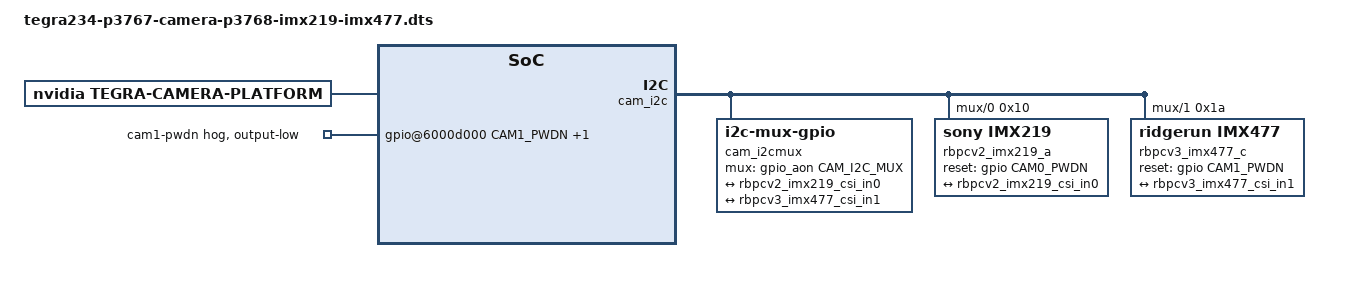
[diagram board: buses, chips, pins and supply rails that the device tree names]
// SPDX-License-Identifier: GPL-2.0-only
// SPDX-FileCopyrightText: Copyright (c) 2023-2024, NVIDIA CORPORATION & AFFILIATES. All rights reserved.

/dts-v1/;
/plugin/;

#define CAM0_RST	TEGRA234_MAIN_GPIO(H, 3)
#define CAM0_PWDN	TEGRA234_MAIN_GPIO(H, 6)
#define CAM1_PWDN	TEGRA234_MAIN_GPIO(AC, 0)
#define CAM_I2C_MUX 	TEGRA234_AON_GPIO(CC, 3)

#include <dt-bindings/tegra234-p3767-0000-common.h>

/ {
	overlay-name = "Camera IMX219-A and IMX477-C";
	jetson-header-name = "Jetson 24pin CSI Connector";
	compatible = JETSON_COMPATIBLE_P3768;
	/* IMX477 connected on cam0 and IMX219 connected on cam1 port */

	fragment@0 {
		target-path = "/";
		__overlay__ {
			tegra-capture-vi  {
				num-channels = <2>;
				ports {
					#address-cells = <1>;
					#size-cells = <0>;
					vi_port0: port@0 {
						reg = <0>;
						rbpcv2_imx219_vi_in0: endpoint {
							port-index = <1>;
							bus-width = <2>;
							remote-endpoint = <&rbpcv2_imx219_csi_out0>;
						};
					};

					port@1 {
						reg = <1>;
						rbpcv3_imx477_vi_in1: endpoint {
							port-index = <2>;
							bus-width = <2>;
							remote-endpoint = <&rbpcv3_imx477_csi_out1>;
						};
					};
				};
			};
			tegra-camera-platform {
				compatible = "nvidia, tegra-camera-platform";
				/**
				 * The general guideline for naming badge_info contains 3 parts, and is as follows,
				 * The first part is the camera_board_id for the module; if the module is in a FFD
				 * platform, then use the platform name for this part.
				 * The second part contains the position of the module, ex. "rear" or "front".
				 * The third part contains the last 6 characters of a part number which is found
				 * in the module's specsheet from the vendor.
				 */
				modules {
					cam_module0: module0 {
						badge = "jakku_front_RBP194";
						position = "front";
						orientation = "1";
						cam_module0_drivernode0: drivernode0 {
							pcl_id = "v4l2_sensor";
							sysfs-device-tree = "/sys/firmware/devicetree/base/bus@0/cam_i2cmux/i2c@0/rbpcv2_imx219_a@10";
						};
						cam_module0_drivernode1: drivernode1 {
							pcl_id = "v4l2_lens";
							sysfs-device-tree = "/sys/firmware/devicetree/base/bus@0/lens_imx219@RBPCV2";
						};
					};
					module1 {
						badge = "jakku_rear_RBPCV3";
						position = "rear";
						orientation = "1";
						drivernode0 {
							pcl_id = "v4l2_sensor";
							sysfs-device-tree = "/sys/firmware/devicetree/base/bus@0/cam_i2cmux/i2c@1/rbpcv3_imx477_c@1a";
						};
					};
				};
			};
			bus@0 {
				host1x@13e00000 {
					nvcsi@15a00000 {
						num-channels = <2>;
						#address-cells = <1>;
						#size-cells = <0>;
						csi_chan0: channel@0 {
							reg = <0>;
							ports {
								#address-cells = <1>;
								#size-cells = <0>;
								csi_chan0_port0: port@0 {
									reg = <0>;
									rbpcv2_imx219_csi_in0: endpoint@0 {
										port-index = <1>;
										bus-width = <2>;
										remote-endpoint = <&rbpcv2_imx219_out0>;
									};
								};
								csi_chan0_port1: port@1 {
									reg = <1>;
									rbpcv2_imx219_csi_out0: endpoint@1 {
										remote-endpoint = <&rbpcv2_imx219_vi_in0>;
									};
								};
							};
						};
						channel@1 {
							reg = <1>;
							ports {
								#address-cells = <1>;
								#size-cells = <0>;
								port@0 {
									reg = <0>;
									rbpcv3_imx477_csi_in1: endpoint@2 {
										port-index = <2>;
										bus-width = <2>;
										remote-endpoint = <&rbpcv3_imx477_out1>;
									};
								};
								port@1 {
									reg = <1>;
									rbpcv3_imx477_csi_out1: endpoint@3 {
										remote-endpoint = <&rbpcv3_imx477_vi_in1>;
									};
								};
							};
						};
					};
				};
				cam_i2cmux {
					status = "okay";
					compatible = "i2c-mux-gpio";
					#address-cells = <1>;
					#size-cells = <0>;
					mux-gpios = <&gpio_aon CAM_I2C_MUX GPIO_ACTIVE_HIGH>;
					i2c-parent = <&cam_i2c>;
					i2c@0 {
						status = "okay";
						reg = <0>;
						#address-cells = <1>;
						#size-cells = <0>;
						rbpcv2_imx219_a@10 {
							reset-gpios = <&gpio CAM0_PWDN GPIO_ACTIVE_HIGH>;
							compatible = "sony,imx219";
							/* I2C device address */
							reg = <0x10>;
							/* V4L2 device node location */
							devnode = "video0";
							/* Physical dimensions of sensor */
							physical_w = "3.680";
							physical_h = "2.760";
							sensor_model = "imx219";
							use_sensor_mode_id = "true";
							/**
							* ==== Modes ====
							* A modeX node is required to support v4l2 driver
							* implementation with NVIDIA camera software stack
							*
							* == Signal properties ==
							*
							* phy_mode = "";
							* PHY mode used by the MIPI lanes for this device
							*
							* tegra_sinterface = "";
							* CSI Serial interface connected to tegra
							* Incase of virtual HW devices, use virtual
							* For SW emulated devices, use host
							*
							* pix_clk_hz = "";
							* Sensor pixel clock used for calculations like exposure and framerate
							*
							* readout_orientation = "0";
							* Based on camera module orientation.
							* Only change readout_orientation if you specifically
							* Program a different readout order for this mode
							*
							* == Image format Properties ==
							*
							* active_w = "";
							* Pixel active region width
							*
							* active_h = "";
							* Pixel active region height
							*
							* pixel_t = "";
							* The sensor readout pixel pattern
							*
							* line_length = "";
							* Pixel line length (width) for sensor mode.
							*
							* == Source Control Settings ==
							*
							* Gain factor used to convert fixed point integer to float
							* Gain range [min_gain/gain_factor, max_gain/gain_factor]
							* Gain step [step_gain/gain_factor is the smallest step that can be configured]
							* Default gain [Default gain to be initialized for the control.
							*     use min_gain_val as default for optimal results]
							* Framerate factor used to convert fixed point integer to float
							* Framerate range [min_framerate/framerate_factor, max_framerate/framerate_factor]
							* Framerate step [step_framerate/framerate_factor is the smallest step that can be configured]
							* Default Framerate [Default framerate to be initialized for the control.
							*     use max_framerate to get required performance]
							* Exposure factor used to convert fixed point integer to float
							* For convenience use 1 sec = 1000000us as conversion factor
							* Exposure range [min_exp_time/exposure_factor, max_exp_time/exposure_factor]
							* Exposure step [step_exp_time/exposure_factor is the smallest step that can be configured]
							* Default Exposure Time [Default exposure to be initialized for the control.
							*     Set default exposure based on the default_framerate for optimal exposure settings]
							*
							* gain_factor = ""; (integer factor used for floating to fixed point conversion)
							* min_gain_val = ""; (ceil to integer)
							* max_gain_val = ""; (ceil to integer)
							* step_gain_val = ""; (ceil to integer)
							* default_gain = ""; (ceil to integer)
							* Gain limits for mode
							*
							* exposure_factor = ""; (integer factor used for floating to fixed point conversion)
							* min_exp_time = ""; (ceil to integer)
							* max_exp_time = ""; (ceil to integer)
							* step_exp_time = ""; (ceil to integer)
							* default_exp_time = ""; (ceil to integer)
							* Exposure Time limits for mode (sec)
							*
							* framerate_factor = ""; (integer factor used for floating to fixed point conversion)
							* min_framerate = ""; (ceil to integer)
							* max_framerate = ""; (ceil to integer)
							* step_framerate = ""; (ceil to integer)
							* default_framerate = ""; (ceil to integer)
							* Framerate limits for mode (fps)
							*
							* embedded_metadata_height = "";
							* Sensor embedded metadata height in units of rows.
							* If sensor does not support embedded metadata value should be 0.
							*/
							mode0 { /* IMX219_MODE_3280x2464_21FPS */
								mclk_khz = "24000";
								num_lanes = "2";
								tegra_sinterface = "serial_b";
								lane_polarity = "6";
								phy_mode = "DPHY";
								discontinuous_clk = "yes";
								dpcm_enable = "false";
								cil_settletime = "0";
								active_w = "3280";
								active_h = "2464";
								mode_type = "bayer";
								pixel_phase = "rggb";
								csi_pixel_bit_depth = "10";
								readout_orientation = "90";
								line_length = "3448";
								inherent_gain = "1";
								mclk_multiplier = "9.33";
								pix_clk_hz = "182400000";
								gain_factor = "16";
								framerate_factor = "1000000";
								exposure_factor = "1000000";
								min_gain_val = "16"; /* 1.00x */
								max_gain_val = "170"; /* 10.66x */
								step_gain_val = "1";
								default_gain = "16"; /* 1.00x */
								min_hdr_ratio = "1";
								max_hdr_ratio = "1";
								min_framerate = "2000000"; /* 2.0 fps */
								max_framerate = "21000000"; /* 21.0 fps */
								step_framerate = "1";
								default_framerate = "21000000"; /* 21.0 fps */
								min_exp_time = "13"; /* us */
								max_exp_time = "683709"; /* us */
								step_exp_time = "1";
								default_exp_time = "2495"; /* us */
								embedded_metadata_height = "2";
							};
							mode1 { /* IMX219_MODE_3280x1848_28FPS */
								mclk_khz = "24000";
								num_lanes = "2";
								tegra_sinterface = "serial_b";
								lane_polarity = "6";
								phy_mode = "DPHY";
								discontinuous_clk = "yes";
								dpcm_enable = "false";
								cil_settletime = "0";
								active_w = "3280";
								active_h = "1848";
								mode_type = "bayer";
								pixel_phase = "rggb";
								csi_pixel_bit_depth = "10";
								readout_orientation = "90";
								line_length = "3448";
								inherent_gain = "1";
								mclk_multiplier = "9.33";
								pix_clk_hz = "182400000";
								gain_factor = "16";
								framerate_factor = "1000000";
								exposure_factor = "1000000";
								min_gain_val = "16"; /* 1.00x */
								max_gain_val = "170"; /* 10.66x */
								step_gain_val = "1";
								default_gain = "16"; /* 1.00x */
								min_hdr_ratio = "1";
								max_hdr_ratio = "1";
								min_framerate = "2000000"; /* 2.0 fps */
								max_framerate = "28000000"; /* 28.0 fps */
								step_framerate = "1";
								default_framerate = "28000000"; /* 28.0 fps */
								min_exp_time = "13"; /* us */
								max_exp_time = "683709"; /* us */
								step_exp_time = "1";
								default_exp_time = "2495"; /* us */
								embedded_metadata_height = "2";
							};
							mode2 { /* IMX219_MODE_1920x1080_30FPS */
								mclk_khz = "24000";
								num_lanes = "2";
								tegra_sinterface = "serial_b";
								lane_polarity = "6";
								phy_mode = "DPHY";
								discontinuous_clk = "yes";
								dpcm_enable = "false";
								cil_settletime = "0";
								active_w = "1920";
								active_h = "1080";
								mode_type = "bayer";
								pixel_phase = "rggb";
								csi_pixel_bit_depth = "10";
								readout_orientation = "90";
								line_length = "3448";
								inherent_gain = "1";
								mclk_multiplier = "9.33";
								pix_clk_hz = "182400000";
								gain_factor = "16";
								framerate_factor = "1000000";
								exposure_factor = "1000000";
								min_gain_val = "16"; /* 1.00x */
								max_gain_val = "170"; /* 10.66x */
								step_gain_val = "1";
								default_gain = "16"; /* 1.00x */
								min_hdr_ratio = "1";
								max_hdr_ratio = "1";
								min_framerate = "2000000"; /* 2.0 fps */
								max_framerate = "30000000"; /* 30.0 fps */
								step_framerate = "1";
								default_framerate = "30000000"; /* 30.0 fps */
								min_exp_time = "13"; /* us */
								max_exp_time = "683709"; /* us */
								step_exp_time = "1";
								default_exp_time = "2495"; /* us */
								embedded_metadata_height = "2";
							};
							mode3 { /* IMX219_MODE_1640x1232_30FPS */
								mclk_khz = "24000";
								num_lanes = "2";
								tegra_sinterface = "serial_b";
								lane_polarity = "6";
								phy_mode = "DPHY";
								discontinuous_clk = "yes";
								dpcm_enable = "false";
								cil_settletime = "0";
								active_w = "1640";
								active_h = "1232";
								mode_type = "bayer";
								pixel_phase = "rggb";
								csi_pixel_bit_depth = "10";
								readout_orientation = "90";
								line_length = "3448";
								inherent_gain = "1";
								mclk_multiplier = "9.33";
								pix_clk_hz = "182400000";
								gain_factor = "16";
								framerate_factor = "1000000";
								exposure_factor = "1000000";
								min_gain_val = "16"; /* 1.00x */
								max_gain_val = "170"; /* 10.66x */
								step_gain_val = "1";
								default_gain = "16"; /* 1.00x */
								min_hdr_ratio = "1";
								max_hdr_ratio = "1";
								min_framerate = "2000000"; /* 2.0 fps */
								max_framerate = "30000000"; /* 60.0 fps */
								step_framerate = "1";
								default_framerate = "30000000"; /* 60.0 fps */
								min_exp_time = "13"; /* us */
								max_exp_time = "683709"; /* us */
								step_exp_time = "1";
								default_exp_time = "2495"; /* us */
								embedded_metadata_height = "2";
							};
							mode4 { /* IMX219_MODE_1280x720_60FPS */
								mclk_khz = "24000";
								num_lanes = "2";
								tegra_sinterface = "serial_b";
								lane_polarity = "6";
								phy_mode = "DPHY";
								discontinuous_clk = "yes";
								dpcm_enable = "false";
								cil_settletime = "0";
								active_w = "1280";
								active_h = "720";
								mode_type = "bayer";
								pixel_phase = "rggb";
								csi_pixel_bit_depth = "10";
								readout_orientation = "90";
								line_length = "3448";
								inherent_gain = "1";
								mclk_multiplier = "9.33";
								pix_clk_hz = "182400000";
								gain_factor = "16";
								framerate_factor = "1000000";
								exposure_factor = "1000000";
								min_gain_val = "16"; /* 1.00x */
								max_gain_val = "170"; /* 10.66x */
								step_gain_val = "1";
								default_gain = "16"; /* 1.00x */
								min_hdr_ratio = "1";
								max_hdr_ratio = "1";
								min_framerate = "2000000"; /* 2.0 fps */
								max_framerate = "60000000"; /* 60.0 fps */
								step_framerate = "1";
								default_framerate = "60000000"; /* 60.0 fps */
								min_exp_time = "13"; /* us */
								max_exp_time = "683709"; /* us */
								step_exp_time = "1";
								default_exp_time = "2495"; /* us */
								embedded_metadata_height = "2";
							};
							ports {
								#address-cells = <1>;
								#size-cells = <0>;
								port@0 {
									reg = <0>;
									rbpcv2_imx219_out0: endpoint {
										port-index = <1>;
										bus-width = <2>;
										remote-endpoint = <&rbpcv2_imx219_csi_in0>;
									};
								};
							};
						};
					};
					i2c@1 {
						status = "okay";
						reg = <1>;
						#address-cells = <1>;
						#size-cells = <0>;
						rbpcv2_imx219_c@10 {
							status = "disabled";
						};
						rbpcv3_imx477_c@1a {
							reset-gpios = <&gpio CAM1_PWDN GPIO_ACTIVE_HIGH>;
							compatible = "ridgerun,imx477";
							/* I2C device address */
							reg = <0x1a>;
							/* V4L2 device node location */
							devnode = "video1";
							/* Physical dimensions of sensor */
							physical_w = "3.680";
							physical_h = "2.760";
							sensor_model = "imx477";
							use_sensor_mode_id = "true";
							mode0 { /* IMX477_MODE_3840x2160 */
								mclk_khz = "24000";
								num_lanes = "2";
								tegra_sinterface = "serial_c";
								phy_mode = "DPHY";
								discontinuous_clk = "no";
								dpcm_enable = "false";
								cil_settletime = "0";
								lane_polarity = "0";
								active_w = "3840";
								active_h = "2160";
								mode_type = "bayer";
								pixel_phase = "rggb";
								csi_pixel_bit_depth = "10";
								readout_orientation = "90";
								line_length = "11200";
								inherent_gain = "1";
								mclk_multiplier = "80";
								pix_clk_hz = "300000000";
								gain_factor = "16";
								framerate_factor = "1000000";
								exposure_factor = "1000000";
								min_gain_val = "16"; /* 1.00x */
								max_gain_val = "356"; /* 22x */
								step_gain_val = "1";
								default_gain = "16"; /* 1.00x */
								min_hdr_ratio = "1";
								max_hdr_ratio = "1";
								min_framerate = "2000000"; /* 2.0 fps */
								max_framerate = "30000000"; /* 30.0 fps */
								step_framerate = "1";
								default_framerate = "30000000"; /* 30.0 fps */
								min_exp_time = "13"; /* us */
								max_exp_time = "683709"; /* us */
								step_exp_time = "1";
								default_exp_time = "2495"; /* us */
								embedded_metadata_height = "2";
							};
							mode1 { /* IMX477_MODE_1920X1080 */
								mclk_khz = "24000";
								num_lanes = "2";
								tegra_sinterface = "serial_c";
								phy_mode = "DPHY";
								discontinuous_clk = "no";
								dpcm_enable = "false";
								cil_settletime = "0";
								lane_polarity = "0";
								active_w = "1920";
								active_h = "1080";
								mode_type = "bayer";
								pixel_phase = "rggb";
								csi_pixel_bit_depth = "10";
								readout_orientation = "90";
								line_length = "7000";
								inherent_gain = "1";
								mclk_multiplier = "80";
								pix_clk_hz = "300000000";
								gain_factor = "16";
								framerate_factor = "1000000";
								exposure_factor = "1000000";
								min_gain_val = "16"; /* 1.00x */
								max_gain_val = "356"; /* 22x */
								step_gain_val = "1";
								default_gain = "16"; /* 1.00x */
								min_hdr_ratio = "1";
								max_hdr_ratio = "1";
								min_framerate = "2000000"; /* 2.0 fps */
								max_framerate = "60000000"; /* 60.0 fps */
								step_framerate = "1";
								default_framerate = "60000000"; /* 60.0 fps */
								min_exp_time = "13"; /* us */
								max_exp_time = "683709"; /* us */
								step_exp_time = "1";
								default_exp_time = "2495"; /* us */
								embedded_metadata_height = "2";
							};
							ports {
								#address-cells = <1>;
								#size-cells = <0>;
								port@0 {
									reg = <0>;
									rbpcv3_imx477_out1: endpoint {
										port-index = <2>;
										bus-width = <2>;
										remote-endpoint = <&rbpcv3_imx477_csi_in1>;
									};
								};
							};
						};
					};
				};
				lens_imx219@RBPCV2 {
					min_focus_distance = "0.0";
					hyper_focal = "0.0";
					focal_length = "3.04";
					f_number = "2.0";
					aperture = "0.0";
				};
				gpio@6000d000 {
					camera-control-output-low {
						gpio-hog;
						output-low;
						gpios = <CAM1_PWDN 0  CAM0_PWDN 0>;
						label = "cam1-pwdn", "cam0-pwdn";
					};
				};
			};
		};
	};
};
